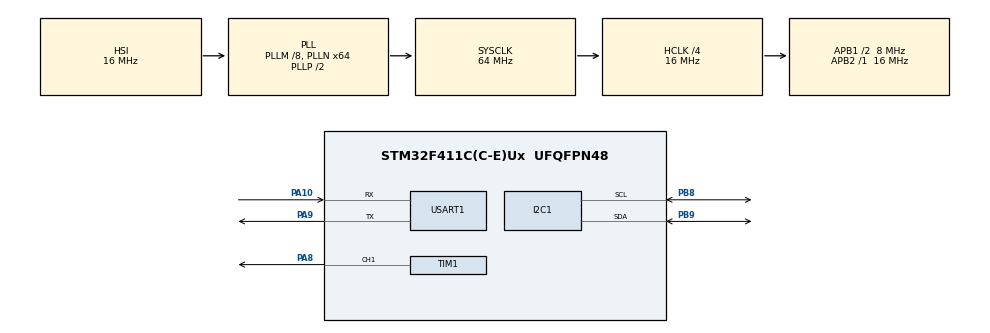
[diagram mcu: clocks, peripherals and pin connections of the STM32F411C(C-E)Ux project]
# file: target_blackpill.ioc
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Mcu.Family=STM32F4
Mcu.Name=STM32F411C(C-E)Ux
Mcu.Package=UFQFPN48
NVIC.PriorityGroup=NVIC_PRIORITYGROUP_4
NVIC.USART1_IRQn=true\:0\:0\:false\:false\:true\:true\:true\:true
PA10.Mode=Asynchronous
PA10.Signal=USART1_RX
PA13.Mode=Serial_Wire
PA13.Signal=SYS_JTMS-SWDIO
PA14.Mode=Serial_Wire
PA14.Signal=SYS_JTCK-SWCLK
PA8.Signal=S_TIM1_CH1
PA9.Mode=Asynchronous
PA9.Signal=USART1_TX
PB8.Mode=I2C
PB8.Signal=I2C1_SCL
PB9.Mode=I2C
PB9.Signal=I2C1_SDA
ProjectManager.HeapSize=0x200
ProjectManager.StackSize=0x400
ProjectManager.TargetToolchain=STM32CubeIDE
RCC.48MHZClocksFreq_Value=32000000
RCC.AHBCLKDivider=RCC_SYSCLK_DIV4
RCC.AHBFreq_Value=16000000
RCC.APB1CLKDivider=RCC_HCLK_DIV2
RCC.APB1Freq_Value=8000000
RCC.APB1TimFreq_Value=16000000
RCC.APB2Freq_Value=16000000
RCC.APB2TimFreq_Value=16000000
RCC.CortexFreq_Value=16000000
RCC.HCLKFreq_Value=16000000
RCC.HSE_VALUE=8000000
RCC.HSI_VALUE=16000000
RCC.LSE_VALUE=32768
RCC.PLLM=8
RCC.PLLN=64
RCC.SYSCLKFreq_VALUE=64000000
RCC.SYSCLKSource=RCC_SYSCLKSOURCE_PLLCLK
RCC.VCOOutputFreq_Value=128000000
SH.S_TIM1_CH1.0=TIM1_CH1,PWM Generation1 CH1
TIM1.Channel-PWM\ Generation1\ CH1=TIM_CHANNEL_1
TIM1.Period=499
TIM1.Prescaler=63
USART1.VirtualMode=VM_ASYNC
board=custom

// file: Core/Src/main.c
/* USER CODE BEGIN Header */
/**
  ******************************************************************************
  * @file           : main.c
  * @brief          : Main program body
  ******************************************************************************
  * @attention
  *
  * Copyright (c) 2026 STMicroelectronics.
  * All rights reserved.
  *
  * This software is licensed under terms that can be found in the LICENSE file
  * in the root directory of this software component.
  * If no LICENSE file comes with this software, it is provided AS-IS.
  *
  ******************************************************************************
  */
/* USER CODE END Header */
#include "main.h"

/* USER CODE BEGIN Includes */
#include <stdbool.h>
#include <ctype.h>
#include <stdio.h>
#include <stdlib.h>
#include <string.h>
#include "secure_link_config.h"

/* USER CODE END Includes */

/* USER CODE BEGIN PTD */
typedef struct
{
  char temperature_c[12];
  char humidity_pct[12];
  char flow_lpm[12];
  char plaintext[128];
  char encrypted_hex[385];
  bool flow_risk;
  bool fan_active;
  bool frost_risk;
  bool valid;
  uint32_t updated_at_ms;
} SensorData_t;

#ifdef HAL_UART_MODULE_ENABLED
typedef struct
{
  const char *command;
  uint16_t wait_ms;
  const char *line1;
  const char *line2;
} EspCommand_t;

typedef struct
{
  uint8_t at_index;
  uint32_t last_action_ms;
  bool init_started;
  bool server_ready;
  bool awaiting_response;
  bool uart_started;
  uint8_t rx_byte;
  volatile uint16_t rx_head;
  volatile uint16_t rx_tail;
  uint8_t rx_fifo[512];
  char text_buffer[768];
  uint16_t text_len;
  char last_hex[385];
  uint32_t last_hex_ms;
  uint32_t last_rx_activity_ms;
  uint32_t last_packet_ms;
  char status_line1[17];
  char status_line2[17];
  uint8_t active_session_id[8];
  uint8_t previous_session_ids[4][8];
  uint32_t highest_frame_counter;
  uint8_t previous_session_count;
  bool session_tracking_valid;
} EspReceiver_t;

typedef enum
{
  ESP_PACKET_INVALID = 0,
  ESP_PACKET_INCOMPLETE,
  ESP_PACKET_READY
} EspPacketProbeResult_t;

typedef struct
{
  bool initialized;
  uint8_t aes_key[16];
  uint8_t aes_round_keys[176];
  uint8_t hmac_key[32];
} EspCryptoContext_t;
#endif

/* USER CODE END PTD */

/* USER CODE BEGIN PD */
#define USER_LED_GPIO_Port GPIOC
#define USER_LED_Pin GPIO_PIN_13
#define BUZZER_GPIO_Port            GPIOA
#define BUZZER_Pin                  GPIO_PIN_8
#define LCD_BACKLIGHT              0x08U
#define LCD_ENABLE_BIT             0x04U
#define LCD_RS_BIT                 0x01U
#define LCD_LINE_1_ADDR            0x00U
#define LCD_LINE_2_ADDR            0x40U
#define ESP_MASTER_SECRET          SECURE_LINK_PAIR_SECRET
#define ESP_AP_SSID                SECURE_LINK_WIFI_SSID
#define ESP_AP_PASSWORD            SECURE_LINK_WIFI_PASSWORD
#define ESP_WIFI_MODE              "3"
#define ESP_AP_CHANNEL             "1"
#define ESP_AP_ENCRYPTION          "3"
#define ESP_TCP_SERVER_PORT        "80"
#define ESP_AT_RESPONSE_DELAY_MS   500U
#define ESP_BOOT_WAIT_MS           2500U
#define ESP_DUPLICATE_WINDOW_MS    800U
#define ESP_UART_NOISE_KEEP_LEN    192U
#define ESP_PACKET_TIMEOUT_MS      8000U
#define LCD_REFRESH_INTERVAL_MS    250U
#define ALERT_SHOW_MS              3000U
#define ESP_SECURE_PACKET_PREFIX   "ST1:"
#define ESP_SECURE_PACKET_PREFIX_V2 "ST2:"
#define ESP_SECURE_SESSION_ID_LEN  8U
#define ESP_SECURE_FRAME_COUNTER_LEN 4U
#define ESP_SECURE_IV_LEN          16U
#define ESP_SECURE_TAG_LEN         16U
#define ESP_SECURE_MAX_PLAINTEXT   127U
#define ESP_SECURE_PACKET_MAX_LEN  385U

/* USER CODE END PD */

I2C_HandleTypeDef hi2c1;

TIM_HandleTypeDef htim1;

UART_HandleTypeDef huart1;

/* USER CODE BEGIN PV */
#ifdef HAL_I2C_MODULE_ENABLED
extern I2C_HandleTypeDef hi2c1;

static uint16_t lcd_address = 0U;
static bool lcd_ready = false;
#endif

static SensorData_t sensor_data = {0};
static char alert_line1[17] = "";
static char alert_line2[17] = "";
static uint32_t alert_until_ms = 0U;

#ifdef HAL_UART_MODULE_ENABLED
extern UART_HandleTypeDef huart1;

static EspReceiver_t esp_receiver = {0};
static EspCryptoContext_t esp_crypto = {0};
#endif

/* USER CODE END PV */

void SystemClock_Config(void);
static void MX_GPIO_Init(void);
static void MX_I2C1_Init(void);
static void MX_USART1_UART_Init(void);
static void MX_TIM1_Init(void);
/* USER CODE BEGIN PFP */
#ifdef HAL_I2C_MODULE_ENABLED
static void LCD_Init(void);
static void LCD_ShowMessage(const char *line1, const char *line2);
static void LCD_Service(void);
#endif

static void Buzzer_Service(void);
static void Buzzer_StartAlert(void);
static void Buzzer_StopAlert(void);

#ifdef HAL_UART_MODULE_ENABLED
static void ESP_ServiceStartup(void);
static void ESP_PollUart(void);
static void ESP_StartUartReceive(void);
static void ESP_ProcessTextBuffer(void);
static void ESP_ProcessStartupResponses(void);
static void ESP_ServiceLinkHealth(void);
static void ESP_ForceReinit(const char *line1, const char *line2);
#endif

/* USER CODE END PFP */

/* USER CODE BEGIN 0 */
#ifdef HAL_I2C_MODULE_ENABLED
static void LCD_ExpanderWrite(uint8_t data)
{
  HAL_I2C_Master_Transmit(&hi2c1, lcd_address, &data, 1U, 100U);
}

static void LCD_PulseEnable(uint8_t data)
{
  LCD_ExpanderWrite(data | LCD_ENABLE_BIT);
  HAL_Delay(1);
  LCD_ExpanderWrite(data & (uint8_t)~LCD_ENABLE_BIT);
  HAL_Delay(1);
}

static void LCD_Write4Bits(uint8_t data)
{
  LCD_ExpanderWrite(data | LCD_BACKLIGHT);
  LCD_PulseEnable(data | LCD_BACKLIGHT);
}

static void LCD_Send(uint8_t value, uint8_t mode)
{
  uint8_t high_nibble = value & 0xF0U;
  uint8_t low_nibble = (uint8_t)((value << 4U) & 0xF0U);

  LCD_Write4Bits(high_nibble | mode);
  LCD_Write4Bits(low_nibble | mode);
}

static void LCD_SendCommand(uint8_t command)
{
  LCD_Send(command, 0U);

  if ((command == 0x01U) || (command == 0x02U))
  {
    HAL_Delay(2);
  }
  else
  {
    HAL_Delay(1);
  }
}

static void LCD_SendData(uint8_t data)
{
  LCD_Send(data, LCD_RS_BIT);
  HAL_Delay(1);
}

static void LCD_SetCursor(uint8_t row, uint8_t col)
{
  uint8_t base_addr = (row == 0U) ? LCD_LINE_1_ADDR : LCD_LINE_2_ADDR;
  LCD_SendCommand((uint8_t)(0x80U | (base_addr + col)));
}

static void LCD_PrintLine(uint8_t row, const char *text)
{
  char buffer[17];
  size_t text_len = strlen(text);

  memset(buffer, ' ', 16U);
  buffer[16] = '\0';

  if (text_len > 16U)
  {
    text_len = 16U;
  }

  memcpy(buffer, text, text_len);

  LCD_SetCursor(row, 0U);
  for (uint8_t i = 0U; i < 16U; i++)
  {
    LCD_SendData((uint8_t)buffer[i]);
  }
}

static void LCD_ShowMessage(const char *line1, const char *line2)
{
  if (!lcd_ready)
  {
    return;
  }

  LCD_PrintLine(0U, line1);
  LCD_PrintLine(1U, line2);
}

static uint16_t LCD_FindAddress(void)
{
  for (uint16_t address = 0x08U; address <= 0x77U; address++)
  {
    if (HAL_I2C_IsDeviceReady(&hi2c1, (uint16_t)(address << 1U), 2U, 100U) == HAL_OK)
    {
      return (uint16_t)(address << 1U);
    }
  }

  return 0U;
}

static void LCD_Init(void)
{
  lcd_address = LCD_FindAddress();
  if (lcd_address == 0U)
  {
    lcd_ready = false;
    return;
  }

  lcd_ready = true;

  HAL_Delay(50);
  LCD_Write4Bits(0x30U);
  HAL_Delay(5);
  LCD_Write4Bits(0x30U);
  HAL_Delay(5);
  LCD_Write4Bits(0x30U);
  HAL_Delay(1);
  LCD_Write4Bits(0x20U);

  LCD_SendCommand(0x28U);
  LCD_SendCommand(0x0CU);
  LCD_SendCommand(0x06U);
  LCD_SendCommand(0x01U);
  LCD_ShowMessage("LCD Baglandi", "ESP Bekleniyor");
}

static void LCD_Service(void)
{
  static uint32_t last_update_ms = 0U;
  char line1[17];
  char line2[17];

  if (!lcd_ready)
  {
    return;
  }

  if ((HAL_GetTick() - last_update_ms) < LCD_REFRESH_INTERVAL_MS)
  {
    return;
  }

  last_update_ms = HAL_GetTick();

  if (!sensor_data.valid)
  {
    #ifdef HAL_UART_MODULE_ENABLED
    LCD_ShowMessage(esp_receiver.status_line1, esp_receiver.status_line2);
    #else
    LCD_ShowMessage("Veri Yok", "UART Kapali");
    #endif
    return;
  }

  if (HAL_GetTick() < alert_until_ms)
  {
    LCD_ShowMessage(alert_line1, alert_line2);
    return;
  }

  snprintf(line1, sizeof(line1), "S:%.5s N:%.5s", sensor_data.temperature_c, sensor_data.humidity_pct);
  snprintf(line2, sizeof(line2), "D:%.8s L/dk", sensor_data.flow_lpm);
  LCD_ShowMessage(line1, line2);
}
#endif

static void Buzzer_Service(void)
{
  if (sensor_data.valid && sensor_data.fan_active)
  {
    Buzzer_StartAlert();
  }
  else
  {
    Buzzer_StopAlert();
  }
}

static void Buzzer_StartAlert(void)
{
#ifdef HAL_TIM_MODULE_ENABLED
  __HAL_TIM_SET_COMPARE(&htim1, TIM_CHANNEL_1, (__HAL_TIM_GET_AUTORELOAD(&htim1) + 1U) / 2U);
  HAL_TIM_PWM_Start(&htim1, TIM_CHANNEL_1);
#else
  HAL_GPIO_WritePin(BUZZER_GPIO_Port, BUZZER_Pin, GPIO_PIN_SET);
#endif
}

static void Buzzer_StopAlert(void)
{
#ifdef HAL_TIM_MODULE_ENABLED
  HAL_TIM_PWM_Stop(&htim1, TIM_CHANNEL_1);
  __HAL_TIM_SET_COMPARE(&htim1, TIM_CHANNEL_1, 0U);
#else
  HAL_GPIO_WritePin(BUZZER_GPIO_Port, BUZZER_Pin, GPIO_PIN_RESET);
#endif
}

#ifdef HAL_UART_MODULE_ENABLED
static const EspCommand_t esp_init_commands[] =
{
  {"AT", ESP_BOOT_WAIT_MS, "ESP Uyaniyor", "AT Gonderildi"},
  {"ATE0", ESP_AT_RESPONSE_DELAY_MS, "Echo Kapat", "ATE0"},
  {"AT+CWMODE=" ESP_WIFI_MODE, ESP_AT_RESPONSE_DELAY_MS, "WiFi Mod", "CWMODE=3"},
  {"AT+CWSAP=\"" ESP_AP_SSID "\",\"" ESP_AP_PASSWORD "\"," ESP_AP_CHANNEL "," ESP_AP_ENCRYPTION, 1600U, "AP Kuruluyor", ESP_AP_SSID},
  {"AT+CIPMUX=1", ESP_AT_RESPONSE_DELAY_MS, "ESP Sunucu", "CIPMUX=1"},
  {"AT+CIPSERVER=1," ESP_TCP_SERVER_PORT, 1000U, "ESP Sunucu", "CIPSERVER=1"}
};

static void ESP_SetStatus(const char *line1, const char *line2)
{
  snprintf(esp_receiver.status_line1, sizeof(esp_receiver.status_line1), "%s", line1);
  snprintf(esp_receiver.status_line2, sizeof(esp_receiver.status_line2), "%s", line2);
}

static void ESP_ForceReinit(const char *line1, const char *line2)
{
  bool uart_started = esp_receiver.uart_started;
  uint8_t rx_byte = esp_receiver.rx_byte;

  memset(esp_receiver.last_hex, 0, sizeof(esp_receiver.last_hex));
  memset(esp_receiver.rx_fifo, 0, sizeof(esp_receiver.rx_fifo));
  memset(esp_receiver.text_buffer, 0, sizeof(esp_receiver.text_buffer));
  memset(esp_receiver.active_session_id, 0, sizeof(esp_receiver.active_session_id));
  memset(esp_receiver.previous_session_ids, 0, sizeof(esp_receiver.previous_session_ids));
  esp_receiver.at_index = 0U;
  esp_receiver.last_action_ms = HAL_GetTick();
  esp_receiver.init_started = false;
  esp_receiver.server_ready = false;
  esp_receiver.awaiting_response = false;
  esp_receiver.uart_started = uart_started;
  esp_receiver.rx_byte = rx_byte;
  esp_receiver.rx_head = 0U;
  esp_receiver.rx_tail = 0U;
  esp_receiver.text_len = 0U;
  esp_receiver.last_hex_ms = 0U;
  esp_receiver.last_rx_activity_ms = 0U;
  esp_receiver.last_packet_ms = 0U;
  esp_receiver.highest_frame_counter = 0U;
  esp_receiver.previous_session_count = 0U;
  esp_receiver.session_tracking_valid = false;

  sensor_data.valid = false;
  ESP_SetStatus(line1, line2);
}

static void ESP_SendCommand(const char *command)
{
  static const char line_end[] = "\r\n";

  HAL_UART_Transmit(&huart1, (uint8_t *)command, (uint16_t)strlen(command), 1000U);
  HAL_UART_Transmit(&huart1, (uint8_t *)line_end, 2U, 100U);
}

static void ESP_ConsumeTextPrefix(uint16_t length)
{
  if (length == 0U)
  {
    return;
  }

  if (length >= esp_receiver.text_len)
  {
    esp_receiver.text_len = 0U;
    esp_receiver.text_buffer[0] = '\0';
    return;
  }

  memmove(esp_receiver.text_buffer,
          &esp_receiver.text_buffer[length],
          esp_receiver.text_len - length);
  esp_receiver.text_len = (uint16_t)(esp_receiver.text_len - length);
  esp_receiver.text_buffer[esp_receiver.text_len] = '\0';
}

static bool ESP_ConsumeThroughToken(const char *token)
{
  char *match;
  uint16_t consume_length;

  if ((token == NULL) || (token[0] == '\0') || (esp_receiver.text_len == 0U))
  {
    return false;
  }

  match = strstr(esp_receiver.text_buffer, token);
  if (match == NULL)
  {
    return false;
  }

  consume_length = (uint16_t)((match - esp_receiver.text_buffer) + strlen(token));
  while ((consume_length < esp_receiver.text_len) &&
         ((esp_receiver.text_buffer[consume_length] == '\r') ||
          (esp_receiver.text_buffer[consume_length] == '\n')))
  {
    consume_length++;
  }

  ESP_ConsumeTextPrefix(consume_length);
  return true;
}

static uint8_t ESP_HexNibble(char value)
{
  if ((value >= '0') && (value <= '9'))
  {
    return (uint8_t)(value - '0');
  }

  value = (char)toupper((unsigned char)value);
  return (uint8_t)(10 + (value - 'A'));
}

static bool ESP_IsHexString(const char *text, size_t length)
{
  for (size_t i = 0U; i < length; i++)
  {
    if (isxdigit((unsigned char)text[i]) == 0)
    {
      return false;
    }
  }

  return true;
}

static bool ESP_ParseHexWord(const char *hex_text, uint16_t *value)
{
  uint16_t parsed = 0U;

  if ((hex_text == NULL) || (value == NULL) || !ESP_IsHexString(hex_text, 4U))
  {
    return false;
  }

  for (size_t i = 0U; i < 4U; i++)
  {
    parsed = (uint16_t)((parsed << 4U) | ESP_HexNibble(hex_text[i]));
  }

  *value = parsed;
  return true;
}

static bool ESP_ParseHexDword(const char *hex_text, uint32_t *value)
{
  uint32_t parsed = 0U;

  if ((hex_text == NULL) || (value == NULL) || !ESP_IsHexString(hex_text, 8U))
  {
    return false;
  }

  for (size_t i = 0U; i < 8U; i++)
  {
    parsed = (parsed << 4U) | ESP_HexNibble(hex_text[i]);
  }

  *value = parsed;
  return true;
}

static bool ESP_HexToBytes(const char *hex_text, size_t hex_length, uint8_t *bytes, size_t bytes_size)
{
  if ((hex_text == NULL) || (bytes == NULL) || ((hex_length % 2U) != 0U) ||
      ((hex_length / 2U) > bytes_size) || !ESP_IsHexString(hex_text, hex_length))
  {
    return false;
  }

  for (size_t i = 0U; i < (hex_length / 2U); i++)
  {
    bytes[i] = (uint8_t)((ESP_HexNibble(hex_text[i * 2U]) << 4U) |
                         ESP_HexNibble(hex_text[(i * 2U) + 1U]));
  }

  return true;
}

static bool ESP_CopyField(const char *payload, const char *label, char terminator, char *out, size_t out_size)
{
  const char *start = strstr(payload, label);
  size_t index = 0U;

  if ((start == NULL) || (out_size == 0U))
  {
    return false;
  }

  start += strlen(label);
  while (*start == ' ')
  {
    start++;
  }

  while ((*start != '\0') && (*start != terminator) && (index + 1U < out_size))
  {
    out[index++] = *start++;
  }

  while ((index > 0U) && (out[index - 1U] == ' '))
  {
    index--;
  }

  out[index] = '\0';
  return index > 0U;
}

static void ESP_ParseOptionalFlagField(const char *payload, const char *label, bool *value)
{
  const char *start;

  if ((payload == NULL) || (label == NULL) || (value == NULL))
  {
    return;
  }

  start = strstr(payload, label);
  if (start == NULL)
  {
    return;
  }

  start += strlen(label);
  while ((*start == ' ') || (*start == '\t'))
  {
    start++;
  }

  if (*start == '1')
  {
    *value = true;
  }
  else if (*start == '0')
  {
    *value = false;
  }
  else if ((toupper((unsigned char)start[0]) == 'O') &&
           (toupper((unsigned char)start[1]) == 'N'))
  {
    *value = true;
  }
  else if ((toupper((unsigned char)start[0]) == 'O') &&
           (toupper((unsigned char)start[1]) == 'F') &&
           (toupper((unsigned char)start[2]) == 'F'))
  {
    *value = false;
  }
}

static bool ESP_ParseSensorPayload(const char *payload, SensorData_t *parsed)
{
  if (!ESP_CopyField(payload, "Sicaklik:", 'C', parsed->temperature_c, sizeof(parsed->temperature_c)))
  {
    return false;
  }

  if (!ESP_CopyField(payload, "Nem:", '%', parsed->humidity_pct, sizeof(parsed->humidity_pct)))
  {
    return false;
  }

  if (!ESP_CopyField(payload, "Debi:", 'L', parsed->flow_lpm, sizeof(parsed->flow_lpm)))
  {
    return false;
  }

  parsed->fan_active = false;
  parsed->frost_risk = false;
  parsed->flow_risk = false;
  ESP_ParseOptionalFlagField(payload, "Fan:", &parsed->fan_active);
  ESP_ParseOptionalFlagField(payload, "Don:", &parsed->frost_risk);
  ESP_ParseOptionalFlagField(payload, "Boru:", &parsed->flow_risk);
  snprintf(parsed->plaintext, sizeof(parsed->plaintext), "%s", payload);
  parsed->updated_at_ms = HAL_GetTick();
  parsed->valid = true;
  return true;
}

static void ESP_SHA256_Transform(uint32_t state[8], const uint8_t block[64])
{
  static const uint32_t k[64] =
  {
    0x428a2f98UL, 0x71374491UL, 0xb5c0fbcfUL, 0xe9b5dba5UL,
    0x3956c25bUL, 0x59f111f1UL, 0x923f82a4UL, 0xab1c5ed5UL,
    0xd807aa98UL, 0x12835b01UL, 0x243185beUL, 0x550c7dc3UL,
    0x72be5d74UL, 0x80deb1feUL, 0x9bdc06a7UL, 0xc19bf174UL,
    0xe49b69c1UL, 0xefbe4786UL, 0x0fc19dc6UL, 0x240ca1ccUL,
    0x2de92c6fUL, 0x4a7484aaUL, 0x5cb0a9dcUL, 0x76f988daUL,
    0x983e5152UL, 0xa831c66dUL, 0xb00327c8UL, 0xbf597fc7UL,
    0xc6e00bf3UL, 0xd5a79147UL, 0x06ca6351UL, 0x14292967UL,
    0x27b70a85UL, 0x2e1b2138UL, 0x4d2c6dfcUL, 0x53380d13UL,
    0x650a7354UL, 0x766a0abbUL, 0x81c2c92eUL, 0x92722c85UL,
    0xa2bfe8a1UL, 0xa81a664bUL, 0xc24b8b70UL, 0xc76c51a3UL,
    0xd192e819UL, 0xd6990624UL, 0xf40e3585UL, 0x106aa070UL,
    0x19a4c116UL, 0x1e376c08UL, 0x2748774cUL, 0x34b0bcb5UL,
    0x391c0cb3UL, 0x4ed8aa4aUL, 0x5b9cca4fUL, 0x682e6ff3UL,
    0x748f82eeUL, 0x78a5636fUL, 0x84c87814UL, 0x8cc70208UL,
    0x90befffaUL, 0xa4506cebUL, 0xbef9a3f7UL, 0xc67178f2UL
  };
  uint32_t w[64];
  uint32_t a;
  uint32_t b;
  uint32_t c;
  uint32_t d;
  uint32_t e;
  uint32_t f;
  uint32_t g;
  uint32_t h;

  for (size_t i = 0U; i < 16U; i++)
  {
    w[i] = ((uint32_t)block[i * 4U] << 24U) |
           ((uint32_t)block[(i * 4U) + 1U] << 16U) |
           ((uint32_t)block[(i * 4U) + 2U] << 8U) |
           (uint32_t)block[(i * 4U) + 3U];
  }

  for (size_t i = 16U; i < 64U; i++)
  {
    uint32_t s0 = ((w[i - 15U] >> 7U) | (w[i - 15U] << 25U)) ^
                  ((w[i - 15U] >> 18U) | (w[i - 15U] << 14U)) ^
                  (w[i - 15U] >> 3U);
    uint32_t s1 = ((w[i - 2U] >> 17U) | (w[i - 2U] << 15U)) ^
                  ((w[i - 2U] >> 19U) | (w[i - 2U] << 13U)) ^
                  (w[i - 2U] >> 10U);

    w[i] = w[i - 16U] + s0 + w[i - 7U] + s1;
  }

  a = state[0];
  b = state[1];
  c = state[2];
  d = state[3];
  e = state[4];
  f = state[5];
  g = state[6];
  h = state[7];

  for (size_t i = 0U; i < 64U; i++)
  {
    uint32_t s1 = ((e >> 6U) | (e << 26U)) ^
                  ((e >> 11U) | (e << 21U)) ^
                  ((e >> 25U) | (e << 7U));
    uint32_t ch = (e & f) ^ ((~e) & g);
    uint32_t temp1 = h + s1 + ch + k[i] + w[i];
    uint32_t s0 = ((a >> 2U) | (a << 30U)) ^
                  ((a >> 13U) | (a << 19U)) ^
                  ((a >> 22U) | (a << 10U));
    uint32_t maj = (a & b) ^ (a & c) ^ (b & c);
    uint32_t temp2 = s0 + maj;

    h = g;
    g = f;
    f = e;
    e = d + temp1;
    d = c;
    c = b;
    b = a;
    a = temp1 + temp2;
  }

  state[0] += a;
  state[1] += b;
  state[2] += c;
  state[3] += d;
  state[4] += e;
  state[5] += f;
  state[6] += g;
  state[7] += h;
}

typedef struct
{
  uint32_t state[8];
  uint8_t buffer[64];
  uint64_t bit_length;
  size_t buffer_length;
} EspSha256Context_t;

static void ESP_SHA256_Init(EspSha256Context_t *ctx)
{
  ctx->state[0] = 0x6a09e667UL;
  ctx->state[1] = 0xbb67ae85UL;
  ctx->state[2] = 0x3c6ef372UL;
  ctx->state[3] = 0xa54ff53aUL;
  ctx->state[4] = 0x510e527fUL;
  ctx->state[5] = 0x9b05688cUL;
  ctx->state[6] = 0x1f83d9abUL;
  ctx->state[7] = 0x5be0cd19UL;
  ctx->bit_length = 0U;
  ctx->buffer_length = 0U;
}

static void ESP_SHA256_Update(EspSha256Context_t *ctx, const uint8_t *data, size_t length)
{
  for (size_t i = 0U; i < length; i++)
  {
    ctx->buffer[ctx->buffer_length++] = data[i];

    if (ctx->buffer_length == sizeof(ctx->buffer))
    {
      ESP_SHA256_Transform(ctx->state, ctx->buffer);
      ctx->bit_length += 512U;
      ctx->buffer_length = 0U;
    }
  }
}

static void ESP_SHA256_Final(EspSha256Context_t *ctx, uint8_t hash[32])
{
  size_t index = ctx->buffer_length;

  ctx->bit_length += (uint64_t)index * 8ULL;
  ctx->buffer[index++] = 0x80U;

  if (index > 56U)
  {
    while (index < 64U)
    {
      ctx->buffer[index++] = 0x00U;
    }

    ESP_SHA256_Transform(ctx->state, ctx->buffer);
    index = 0U;
  }

  while (index < 56U)
  {
    ctx->buffer[index++] = 0x00U;
  }

  for (size_t i = 0U; i < 8U; i++)
  {
    ctx->buffer[56U + i] = (uint8_t)(ctx->bit_length >> ((7U - i) * 8U));
  }

  ESP_SHA256_Transform(ctx->state, ctx->buffer);

  for (size_t i = 0U; i < 8U; i++)
  {
    hash[i * 4U] = (uint8_t)(ctx->state[i] >> 24U);
    hash[(i * 4U) + 1U] = (uint8_t)(ctx->state[i] >> 16U);
    hash[(i * 4U) + 2U] = (uint8_t)(ctx->state[i] >> 8U);
    hash[(i * 4U) + 3U] = (uint8_t)ctx->state[i];
  }
}

static void ESP_SHA256_Data(const uint8_t *data, size_t length, uint8_t hash[32])
{
  EspSha256Context_t ctx;

  ESP_SHA256_Init(&ctx);
  ESP_SHA256_Update(&ctx, data, length);
  ESP_SHA256_Final(&ctx, hash);
}

static void ESP_SHA256_DataPair(const uint8_t *data1, size_t length1,
                                const uint8_t *data2, size_t length2,
                                uint8_t hash[32])
{
  EspSha256Context_t ctx;

  ESP_SHA256_Init(&ctx);
  ESP_SHA256_Update(&ctx, data1, length1);
  ESP_SHA256_Update(&ctx, data2, length2);
  ESP_SHA256_Final(&ctx, hash);
}

static void ESP_SHA256_DataTriple(const uint8_t *data1, size_t length1,
                                  const uint8_t *data2, size_t length2,
                                  const uint8_t *data3, size_t length3,
                                  uint8_t hash[32])
{
  EspSha256Context_t ctx;

  ESP_SHA256_Init(&ctx);
  ESP_SHA256_Update(&ctx, data1, length1);
  ESP_SHA256_Update(&ctx, data2, length2);
  ESP_SHA256_Update(&ctx, data3, length3);
  ESP_SHA256_Final(&ctx, hash);
}

static uint8_t ESP_AES_Multiply(uint8_t value, uint8_t factor)
{
  uint8_t result = 0U;
  uint8_t current = value;

  while (factor != 0U)
  {
    if ((factor & 1U) != 0U)
    {
      result ^= current;
    }

    if ((current & 0x80U) != 0U)
    {
      current = (uint8_t)((current << 1U) ^ 0x1BU);
    }
    else
    {
      current <<= 1U;
    }

    factor >>= 1U;
  }

  return result;
}

static uint8_t ESP_AES_Power(uint8_t value, uint8_t exponent)
{
  uint8_t result = 1U;

  while (exponent != 0U)
  {
    if ((exponent & 1U) != 0U)
    {
      result = ESP_AES_Multiply(result, value);
    }

    value = ESP_AES_Multiply(value, value);
    exponent >>= 1U;
  }

  return result;
}

static uint8_t ESP_AES_SubByte(uint8_t value)
{
  uint8_t inverse = (value == 0U) ? 0U : ESP_AES_Power(value, 254U);
  uint8_t result = (uint8_t)(inverse ^
                             ((inverse << 1U) | (inverse >> 7U)) ^
                             ((inverse << 2U) | (inverse >> 6U)) ^
                             ((inverse << 3U) | (inverse >> 5U)) ^
                             ((inverse << 4U) | (inverse >> 4U)) ^
                             0x63U);

  return result;
}

static void ESP_AES_KeyExpansion(const uint8_t key[16], uint8_t round_keys[176])
{
  static const uint8_t rcon[10] = {0x01U, 0x02U, 0x04U, 0x08U, 0x10U, 0x20U, 0x40U, 0x80U, 0x1BU, 0x36U};
  uint8_t temp[4];
  size_t generated = 16U;
  size_t rcon_index = 0U;

  memcpy(round_keys, key, 16U);

  while (generated < 176U)
  {
    memcpy(temp, &round_keys[generated - 4U], sizeof(temp));

    if ((generated % 16U) == 0U)
    {
      uint8_t swap = temp[0];

      temp[0] = temp[1];
      temp[1] = temp[2];
      temp[2] = temp[3];
      temp[3] = swap;

      temp[0] = ESP_AES_SubByte(temp[0]);
      temp[1] = ESP_AES_SubByte(temp[1]);
      temp[2] = ESP_AES_SubByte(temp[2]);
      temp[3] = ESP_AES_SubByte(temp[3]);
      temp[0] ^= rcon[rcon_index++];
    }

    for (size_t i = 0U; i < 4U; i++)
    {
      round_keys[generated] = (uint8_t)(round_keys[generated - 16U] ^ temp[i]);
      generated++;
    }
  }
}

static void ESP_AES_AddRoundKey(uint8_t state[16], const uint8_t *round_key)
{
  for (size_t i = 0U; i < 16U; i++)
  {
    state[i] ^= round_key[i];
  }
}

static void ESP_AES_SubBytes(uint8_t state[16])
{
  for (size_t i = 0U; i < 16U; i++)
  {
    state[i] = ESP_AES_SubByte(state[i]);
  }
}

static void ESP_AES_ShiftRows(uint8_t state[16])
{
  uint8_t temp[16];

  memcpy(temp, state, sizeof(temp));
  state[0] = temp[0];
  state[1] = temp[5];
  state[2] = temp[10];
  state[3] = temp[15];
  state[4] = temp[4];
  state[5] = temp[9];
  state[6] = temp[14];
  state[7] = temp[3];
  state[8] = temp[8];
  state[9] = temp[13];
  state[10] = temp[2];
  state[11] = temp[7];
  state[12] = temp[12];
  state[13] = temp[1];
  state[14] = temp[6];
  state[15] = temp[11];
}

static void ESP_AES_MixColumns(uint8_t state[16])
{
  for (size_t column = 0U; column < 4U; column++)
  {
    size_t index = column * 4U;
    uint8_t s0 = state[index];
    uint8_t s1 = state[index + 1U];
    uint8_t s2 = state[index + 2U];
    uint8_t s3 = state[index + 3U];

    state[index] = (uint8_t)(ESP_AES_Multiply(s0, 2U) ^ ESP_AES_Multiply(s1, 3U) ^ s2 ^ s3);
    state[index + 1U] = (uint8_t)(s0 ^ ESP_AES_Multiply(s1, 2U) ^ ESP_AES_Multiply(s2, 3U) ^ s3);
    state[index + 2U] = (uint8_t)(s0 ^ s1 ^ ESP_AES_Multiply(s2, 2U) ^ ESP_AES_Multiply(s3, 3U));
    state[index + 3U] = (uint8_t)(ESP_AES_Multiply(s0, 3U) ^ s1 ^ s2 ^ ESP_AES_Multiply(s3, 2U));
  }
}

static void ESP_AES_EncryptBlock(const uint8_t input[16], const uint8_t round_keys[176], uint8_t output[16])
{
  uint8_t state[16];

  memcpy(state, input, sizeof(state));
  ESP_AES_AddRoundKey(state, round_keys);

  for (size_t round = 1U; round < 10U; round++)
  {
    ESP_AES_SubBytes(state);
    ESP_AES_ShiftRows(state);
    ESP_AES_MixColumns(state);
    ESP_AES_AddRoundKey(state, &round_keys[round * 16U]);
  }

  ESP_AES_SubBytes(state);
  ESP_AES_ShiftRows(state);
  ESP_AES_AddRoundKey(state, &round_keys[160U]);
  memcpy(output, state, sizeof(state));
}

static void ESP_AES_CTR_Transform(uint8_t *data, size_t length, const uint8_t round_keys[176], const uint8_t iv[16])
{
  uint8_t counter[16];
  uint8_t stream_block[16];
  size_t offset = 0U;

  memcpy(counter, iv, sizeof(counter));

  while (offset < length)
  {
    ESP_AES_EncryptBlock(counter, round_keys, stream_block);

    for (size_t i = 0U; (i < 16U) && (offset < length); i++, offset++)
    {
      data[offset] ^= stream_block[i];
    }

    for (int32_t i = 15; i >= 0; i--)
    {
      counter[i]++;
      if (counter[i] != 0U)
      {
        break;
      }
    }
  }
}

static void ESP_HMAC_SHA256(const uint8_t *key, size_t key_length,
                            const uint8_t *data, size_t data_length,
                            uint8_t digest[32])
{
  uint8_t key_block[64];
  uint8_t inner_hash[32];
  uint8_t inner_pad[64];
  uint8_t outer_pad[64];

  memset(key_block, 0, sizeof(key_block));

  if (key_length > sizeof(key_block))
  {
    ESP_SHA256_Data(key, key_length, key_block);
  }
  else
  {
    memcpy(key_block, key, key_length);
  }

  for (size_t i = 0U; i < sizeof(key_block); i++)
  {
    inner_pad[i] = (uint8_t)(key_block[i] ^ 0x36U);
    outer_pad[i] = (uint8_t)(key_block[i] ^ 0x5CU);
  }

  ESP_SHA256_DataPair(inner_pad, sizeof(inner_pad), data, data_length, inner_hash);
  ESP_SHA256_DataPair(outer_pad, sizeof(outer_pad), inner_hash, sizeof(inner_hash), digest);
}

static bool ESP_SecureEquals(const uint8_t *lhs, const uint8_t *rhs, size_t length)
{
  uint8_t diff = 0U;

  for (size_t i = 0U; i < length; i++)
  {
    diff |= (uint8_t)(lhs[i] ^ rhs[i]);
  }

  return diff == 0U;
}

static void ESP_StoreBe32(uint32_t value, uint8_t output[4])
{
  output[0] = (uint8_t)(value >> 24U);
  output[1] = (uint8_t)(value >> 16U);
  output[2] = (uint8_t)(value >> 8U);
  output[3] = (uint8_t)value;
}

static void ESP_EnsureCryptoContext(void)
{
  static const uint8_t aes_label[] = "AES-128-CTR";
  static const uint8_t hmac_label[] = "HMAC-SHA256";
  static const uint8_t context_label[] = "SECURE-LINK-CONTEXT";
  static const uint8_t master_secret[] = ESP_MASTER_SECRET;
  uint8_t hash[32];
  uint8_t context_hash[32];

  if (esp_crypto.initialized)
  {
    return;
  }

  ESP_SHA256_DataTriple(
      context_label,
      sizeof(context_label) - 1U,
      (const uint8_t *)SECURE_LINK_SENDER_DEVICE_ID,
      strlen(SECURE_LINK_SENDER_DEVICE_ID),
      (const uint8_t *)SECURE_LINK_RECEIVER_DEVICE_ID,
      strlen(SECURE_LINK_RECEIVER_DEVICE_ID),
      context_hash);

  ESP_SHA256_DataTriple(aes_label, sizeof(aes_label) - 1U,
                        context_hash, sizeof(context_hash),
                        master_secret, sizeof(master_secret) - 1U,
                        hash);
  memcpy(esp_crypto.aes_key, hash, sizeof(esp_crypto.aes_key));
  ESP_AES_KeyExpansion(esp_crypto.aes_key, esp_crypto.aes_round_keys);

  ESP_SHA256_DataTriple(hmac_label, sizeof(hmac_label) - 1U,
                        context_hash, sizeof(context_hash),
                        master_secret, sizeof(master_secret) - 1U,
                        hash);
  memcpy(esp_crypto.hmac_key, hash, sizeof(esp_crypto.hmac_key));
  esp_crypto.initialized = true;
}

static bool ESP_IsKnownPreviousSession(const uint8_t session_id[ESP_SECURE_SESSION_ID_LEN])
{
  for (uint8_t i = 0U; i < esp_receiver.previous_session_count; i++)
  {
    if (memcmp(esp_receiver.previous_session_ids[i], session_id, ESP_SECURE_SESSION_ID_LEN) == 0)
    {
      return true;
    }
  }

  return false;
}

static void ESP_RememberPreviousSession(const uint8_t session_id[ESP_SECURE_SESSION_ID_LEN])
{
  uint8_t slot = 0U;

  if (ESP_IsKnownPreviousSession(session_id))
  {
    return;
  }

  if (esp_receiver.previous_session_count < 4U)
  {
    slot = esp_receiver.previous_session_count++;
  }
  else
  {
    memmove(
        esp_receiver.previous_session_ids,
        &esp_receiver.previous_session_ids[1],
        sizeof(esp_receiver.previous_session_ids[0]) * 3U);
    slot = 3U;
  }

  memcpy(esp_receiver.previous_session_ids[slot], session_id, ESP_SECURE_SESSION_ID_LEN);
}

static bool ESP_AcceptReplayWindow(
    const uint8_t session_id[ESP_SECURE_SESSION_ID_LEN],
    uint32_t frame_counter)
{
  if (!esp_receiver.session_tracking_valid)
  {
    memcpy(esp_receiver.active_session_id, session_id, ESP_SECURE_SESSION_ID_LEN);
    esp_receiver.highest_frame_counter = frame_counter;
    esp_receiver.session_tracking_valid = true;
    return true;
  }

  if (memcmp(esp_receiver.active_session_id, session_id, ESP_SECURE_SESSION_ID_LEN) == 0)
  {
    if (frame_counter <= esp_receiver.highest_frame_counter)
    {
      return false;
    }

    esp_receiver.highest_frame_counter = frame_counter;
    return true;
  }

  if (ESP_IsKnownPreviousSession(session_id))
  {
    return false;
  }

  ESP_RememberPreviousSession(esp_receiver.active_session_id);
  memcpy(esp_receiver.active_session_id, session_id, ESP_SECURE_SESSION_ID_LEN);
  esp_receiver.highest_frame_counter = frame_counter;
  esp_receiver.session_tracking_valid = true;
  return true;
}

static bool ESP_DecryptSecurePayloadV1(const char *packet, char *plaintext, size_t plaintext_size)
{
  uint16_t plaintext_length = 0U;
  size_t cipher_hex_length;
  uint8_t iv[ESP_SECURE_IV_LEN];
  uint8_t ciphertext[ESP_SECURE_MAX_PLAINTEXT];
  uint8_t auth_buffer[ESP_SECURE_IV_LEN + ESP_SECURE_MAX_PLAINTEXT];
  uint8_t expected_tag[32];
  uint8_t received_tag[ESP_SECURE_TAG_LEN];

  if ((packet == NULL) || (plaintext == NULL) || (plaintext_size == 0U) ||
      (memcmp(packet, ESP_SECURE_PACKET_PREFIX, 4U) != 0))
  {
    return false;
  }

  if (!ESP_ParseHexWord(&packet[4], &plaintext_length) ||
      (plaintext_length == 0U) ||
      (plaintext_length > ESP_SECURE_MAX_PLAINTEXT) ||
      ((plaintext_length + 1U) > plaintext_size) ||
      (packet[8] != ':') ||
      (packet[41] != ':'))
  {
    return false;
  }

  cipher_hex_length = (size_t)plaintext_length * 2U;

  if (packet[42U + cipher_hex_length] != ':')
  {
    return false;
  }

  if (!ESP_HexToBytes(&packet[9], 32U, iv, sizeof(iv)) ||
      !ESP_HexToBytes(&packet[42], cipher_hex_length, ciphertext, sizeof(ciphertext)) ||
      !ESP_HexToBytes(&packet[43U + cipher_hex_length], 32U, received_tag, sizeof(received_tag)))
  {
    return false;
  }

  memcpy(auth_buffer, iv, sizeof(iv));
  memcpy(&auth_buffer[sizeof(iv)], ciphertext, plaintext_length);

  ESP_EnsureCryptoContext();
  ESP_HMAC_SHA256(esp_crypto.hmac_key, sizeof(esp_crypto.hmac_key),
                  auth_buffer, sizeof(iv) + plaintext_length,
                  expected_tag);

  if (!ESP_SecureEquals(received_tag, expected_tag, ESP_SECURE_TAG_LEN))
  {
    return false;
  }

  ESP_AES_CTR_Transform(ciphertext, plaintext_length, esp_crypto.aes_round_keys, iv);
  memcpy(plaintext, ciphertext, plaintext_length);
  plaintext[plaintext_length] = '\0';
  return true;
}

static bool ESP_DecryptSecurePayloadV2(
    const char *packet,
    char *plaintext,
    size_t plaintext_size,
    uint8_t session_id[ESP_SECURE_SESSION_ID_LEN],
    uint32_t *frame_counter)
{
  uint16_t plaintext_length = 0U;
  size_t cipher_hex_length;
  uint8_t frame_counter_bytes[ESP_SECURE_FRAME_COUNTER_LEN];
  uint8_t iv[ESP_SECURE_IV_LEN];
  uint8_t ciphertext[ESP_SECURE_MAX_PLAINTEXT];
  uint8_t auth_buffer[
      ESP_SECURE_SESSION_ID_LEN +
      ESP_SECURE_FRAME_COUNTER_LEN +
      ESP_SECURE_IV_LEN +
      ESP_SECURE_MAX_PLAINTEXT];
  uint8_t expected_tag[32];
  uint8_t received_tag[ESP_SECURE_TAG_LEN];

  if ((packet == NULL) || (plaintext == NULL) || (plaintext_size == 0U) ||
      (session_id == NULL) || (frame_counter == NULL) ||
      (memcmp(packet, ESP_SECURE_PACKET_PREFIX_V2, 4U) != 0))
  {
    return false;
  }

  if (!ESP_ParseHexWord(&packet[4], &plaintext_length) ||
      (plaintext_length == 0U) ||
      (plaintext_length > ESP_SECURE_MAX_PLAINTEXT) ||
      ((plaintext_length + 1U) > plaintext_size) ||
      (packet[8] != ':') ||
      (packet[25] != ':') ||
      (packet[34] != ':') ||
      (packet[67] != ':'))
  {
    return false;
  }

  cipher_hex_length = (size_t)plaintext_length * 2U;
  if (packet[68U + cipher_hex_length] != ':')
  {
    return false;
  }

  if (!ESP_HexToBytes(&packet[9], 16U, session_id, ESP_SECURE_SESSION_ID_LEN) ||
      !ESP_ParseHexDword(&packet[26], frame_counter) ||
      !ESP_HexToBytes(&packet[35], 32U, iv, sizeof(iv)) ||
      !ESP_HexToBytes(&packet[68], cipher_hex_length, ciphertext, sizeof(ciphertext)) ||
      !ESP_HexToBytes(&packet[69U + cipher_hex_length], 32U, received_tag, sizeof(received_tag)))
  {
    return false;
  }

  ESP_StoreBe32(*frame_counter, frame_counter_bytes);
  memcpy(auth_buffer, session_id, ESP_SECURE_SESSION_ID_LEN);
  memcpy(&auth_buffer[ESP_SECURE_SESSION_ID_LEN], frame_counter_bytes, sizeof(frame_counter_bytes));
  memcpy(&auth_buffer[ESP_SECURE_SESSION_ID_LEN + sizeof(frame_counter_bytes)], iv, sizeof(iv));
  memcpy(&auth_buffer[ESP_SECURE_SESSION_ID_LEN + sizeof(frame_counter_bytes) + sizeof(iv)], ciphertext, plaintext_length);

  ESP_EnsureCryptoContext();
  ESP_HMAC_SHA256(
      esp_crypto.hmac_key,
      sizeof(esp_crypto.hmac_key),
      auth_buffer,
      ESP_SECURE_SESSION_ID_LEN + sizeof(frame_counter_bytes) + sizeof(iv) + plaintext_length,
      expected_tag);

  if (!ESP_SecureEquals(received_tag, expected_tag, ESP_SECURE_TAG_LEN))
  {
    return false;
  }

  ESP_AES_CTR_Transform(ciphertext, plaintext_length, esp_crypto.aes_round_keys, iv);
  memcpy(plaintext, ciphertext, plaintext_length);
  plaintext[plaintext_length] = '\0';
  return true;
}

static EspPacketProbeResult_t ESP_ProbeSecurePacket(const char *start, size_t available, size_t *packet_length)
{
  uint16_t plaintext_length = 0U;
  size_t full_length;
  size_t cipher_hex_length;

  if ((start == NULL) || (packet_length == NULL))
  {
    return ESP_PACKET_INVALID;
  }

  if (memcmp(start, ESP_SECURE_PACKET_PREFIX_V2, 4U) == 0)
  {
    if (available < 68U)
    {
      return ESP_PACKET_INCOMPLETE;
    }

    if (!ESP_ParseHexWord(&start[4], &plaintext_length) ||
        (plaintext_length == 0U) ||
        (plaintext_length > ESP_SECURE_MAX_PLAINTEXT) ||
        (start[8] != ':') ||
        (start[25] != ':') ||
        (start[34] != ':') ||
        (start[67] != ':'))
    {
      return ESP_PACKET_INVALID;
    }

    cipher_hex_length = (size_t)plaintext_length * 2U;
    full_length = 101U + cipher_hex_length;

    if (full_length >= ESP_SECURE_PACKET_MAX_LEN)
    {
      return ESP_PACKET_INVALID;
    }

    if (available < full_length)
    {
      return ESP_PACKET_INCOMPLETE;
    }

    if ((start[68U + cipher_hex_length] != ':') ||
        !ESP_IsHexString(&start[9], 16U) ||
        !ESP_IsHexString(&start[26], 8U) ||
        !ESP_IsHexString(&start[35], 32U) ||
        !ESP_IsHexString(&start[68], cipher_hex_length) ||
        !ESP_IsHexString(&start[69U + cipher_hex_length], 32U))
    {
      return ESP_PACKET_INVALID;
    }

    *packet_length = full_length;
    return ESP_PACKET_READY;
  }

  if (available < 42U)
  {
    return ESP_PACKET_INCOMPLETE;
  }

  if ((memcmp(start, ESP_SECURE_PACKET_PREFIX, 4U) != 0) ||
      !ESP_ParseHexWord(&start[4], &plaintext_length) ||
      (plaintext_length == 0U) ||
      (plaintext_length > ESP_SECURE_MAX_PLAINTEXT) ||
      (start[8] != ':') ||
      (start[41] != ':'))
  {
    return ESP_PACKET_INVALID;
  }

  cipher_hex_length = (size_t)plaintext_length * 2U;
  full_length = 75U + cipher_hex_length;

  if (full_length >= ESP_SECURE_PACKET_MAX_LEN)
  {
    return ESP_PACKET_INVALID;
  }

  if (available < full_length)
  {
    return ESP_PACKET_INCOMPLETE;
  }

  if ((start[42U + cipher_hex_length] != ':') ||
      !ESP_IsHexString(&start[9], 32U) ||
      !ESP_IsHexString(&start[42], cipher_hex_length) ||
      !ESP_IsHexString(&start[43U + cipher_hex_length], 32U))
  {
    return ESP_PACKET_INVALID;
  }

  *packet_length = full_length;
  return ESP_PACKET_READY;
}

static void ESP_HandleSecurePacket(const char *packet)
{
  SensorData_t parsed = {0};
  char plaintext[128];
  uint8_t session_id[ESP_SECURE_SESSION_ID_LEN];
  uint32_t frame_counter = 0U;
  uint32_t now = HAL_GetTick();
  bool flow_risk_started = false;
  bool frost_risk_started = false;
  bool mold_risk_started = false;

  if ((strcmp(packet, esp_receiver.last_hex) == 0) &&
      ((now - esp_receiver.last_hex_ms) < ESP_DUPLICATE_WINDOW_MS))
  {
    return;
  }

  snprintf(esp_receiver.last_hex, sizeof(esp_receiver.last_hex), "%s", packet);
  esp_receiver.last_hex_ms = now;

  if (memcmp(packet, ESP_SECURE_PACKET_PREFIX_V2, 4U) == 0)
  {
    if (!ESP_DecryptSecurePayloadV2(packet, plaintext, sizeof(plaintext), session_id, &frame_counter))
    {
      ESP_SetStatus("Guvenlik Hatasi", "Paket Reddedildi");
      return;
    }

    if (!ESP_AcceptReplayWindow(session_id, frame_counter))
    {
      ESP_SetStatus("Replay Engellendi", "Eski Paket");
      return;
    }
  }
  else if (!ESP_DecryptSecurePayloadV1(packet, plaintext, sizeof(plaintext)))
  {
    ESP_SetStatus("Guvenlik Hatasi", "Paket Reddedildi");
    return;
  }

  if (!ESP_ParseSensorPayload(plaintext, &parsed))
  {
    ESP_SetStatus("Paket Geldi", "Format Uyusmadi");
    return;
  }

  flow_risk_started = parsed.flow_risk && !sensor_data.flow_risk;
  frost_risk_started = parsed.frost_risk && !sensor_data.frost_risk;
  mold_risk_started = parsed.fan_active && !sensor_data.fan_active;

  snprintf(parsed.encrypted_hex, sizeof(parsed.encrypted_hex), "%s", packet);
  sensor_data = parsed;
  esp_receiver.last_packet_ms = now;

  if (frost_risk_started)
  {
    snprintf(alert_line1, sizeof(alert_line1), "Don Riski");
    snprintf(alert_line2, sizeof(alert_line2), "Role Aktif");
    alert_until_ms = now + ALERT_SHOW_MS;
  }
  else if (mold_risk_started)
  {
    snprintf(alert_line1, sizeof(alert_line1), "Nem Sic Artti");
    snprintf(alert_line2, sizeof(alert_line2), "Mantar Riski");
    alert_until_ms = now + ALERT_SHOW_MS;
  }
  else if (flow_risk_started)
  {
    snprintf(alert_line1, sizeof(alert_line1), "Boru Patlama");
    snprintf(alert_line2, sizeof(alert_line2), "Riski");
    alert_until_ms = now + ALERT_SHOW_MS;
  }

  ESP_SetStatus("Veri Cozuldu", "LCD Guncel");
}

static void ESP_ProcessTextBuffer(void)
{
  uint16_t i = 0U;
  uint16_t consume_until = 0U;
  uint16_t retain_from = esp_receiver.text_len;

  while (i < esp_receiver.text_len)
  {
    if ((i + 4U) <= esp_receiver.text_len &&
        ((memcmp(&esp_receiver.text_buffer[i], ESP_SECURE_PACKET_PREFIX, 4U) == 0) ||
         (memcmp(&esp_receiver.text_buffer[i], ESP_SECURE_PACKET_PREFIX_V2, 4U) == 0)))
    {
      size_t packet_length = 0U;
      EspPacketProbeResult_t probe =
          ESP_ProbeSecurePacket(&esp_receiver.text_buffer[i],
                                (size_t)(esp_receiver.text_len - i),
                                &packet_length);

      if (probe == ESP_PACKET_READY)
      {
        char packet[ESP_SECURE_PACKET_MAX_LEN];
        uint16_t packet_end = (uint16_t)(i + packet_length);

        while ((packet_end < esp_receiver.text_len) &&
               ((esp_receiver.text_buffer[packet_end] == '\r') ||
                (esp_receiver.text_buffer[packet_end] == '\n')))
        {
          packet_end++;
        }

        if (packet_length < sizeof(packet))
        {
          memcpy(packet, &esp_receiver.text_buffer[i], packet_length);
          packet[packet_length] = '\0';
          ESP_SetStatus("Paket Geldi", "Dogrulaniyor");
          ESP_HandleSecurePacket(packet);
        }

        consume_until = packet_end;
        i = packet_end;
        continue;
      }

      if (probe == ESP_PACKET_INCOMPLETE)
      {
        retain_from = i;
        break;
      }
    }

    i++;
    consume_until = i;
  }

  if (retain_from < esp_receiver.text_len)
  {
    if (retain_from > 0U)
    {
      ESP_ConsumeTextPrefix(retain_from);
    }
  }
  else if (consume_until > 0U)
  {
    ESP_ConsumeTextPrefix(consume_until);
  }
  else if (esp_receiver.text_len > (ESP_UART_NOISE_KEEP_LEN * 2U))
  {
    ESP_ConsumeTextPrefix((uint16_t)(esp_receiver.text_len - ESP_UART_NOISE_KEEP_LEN));
  }
}

static void ESP_ProcessStartupResponses(void)
{
  if (esp_receiver.server_ready || !esp_receiver.awaiting_response)
  {
    return;
  }

  if (ESP_ConsumeThroughToken("\r\nOK") ||
      ESP_ConsumeThroughToken("\nOK") ||
      ESP_ConsumeThroughToken("OK\r\n") ||
      ESP_ConsumeThroughToken("no change") ||
      ESP_ConsumeThroughToken("ALREADY CONNECTED"))
  {
    esp_receiver.awaiting_response = false;
    esp_receiver.last_action_ms = HAL_GetTick();
    esp_receiver.at_index++;
    return;
  }

  if (ESP_ConsumeThroughToken("busy p...") ||
      ESP_ConsumeThroughToken("busy s...") ||
      ESP_ConsumeThroughToken("busy"))
  {
    esp_receiver.awaiting_response = false;
    esp_receiver.last_action_ms = HAL_GetTick();
    ESP_SetStatus("ESP Mesgul", esp_init_commands[esp_receiver.at_index].line2);
    return;
  }

  if (ESP_ConsumeThroughToken("ERROR") ||
      ESP_ConsumeThroughToken("FAIL"))
  {
    esp_receiver.awaiting_response = false;
    esp_receiver.last_action_ms = HAL_GetTick();
    ESP_SetStatus("ESP Komut Hata", esp_init_commands[esp_receiver.at_index].line2);
  }
}

static void ESP_ServiceLinkHealth(void)
{
  uint32_t now = HAL_GetTick();
  uint32_t last_activity_ms = esp_receiver.last_packet_ms;

  if (!esp_receiver.server_ready)
  {
    return;
  }

  if (esp_receiver.last_rx_activity_ms > last_activity_ms)
  {
    last_activity_ms = esp_receiver.last_rx_activity_ms;
  }

  if (last_activity_ms == 0U)
  {
    last_activity_ms = esp_receiver.last_action_ms;
  }

  if ((now - last_activity_ms) >= ESP_PACKET_TIMEOUT_MS)
  {
    ESP_ForceReinit("ESP Yeniden", "Baglaniyor");
  }
}

static void ESP_StartUartReceive(void)
{
  if (!esp_receiver.uart_started)
  {
    esp_receiver.uart_started = true;
    HAL_UART_Receive_IT(&huart1, &esp_receiver.rx_byte, 1U);
  }
}

static void ESP_PollUart(void)
{
  bool received_any_byte = false;

  while (esp_receiver.rx_tail != esp_receiver.rx_head)
  {
    uint8_t byte = esp_receiver.rx_fifo[esp_receiver.rx_tail];
    esp_receiver.rx_tail = (uint16_t)((esp_receiver.rx_tail + 1U) % sizeof(esp_receiver.rx_fifo));
    received_any_byte = true;

    if (esp_receiver.text_len < (sizeof(esp_receiver.text_buffer) - 1U))
    {
      esp_receiver.text_buffer[esp_receiver.text_len++] = (char)byte;
      esp_receiver.text_buffer[esp_receiver.text_len] = '\0';
    }
    else
    {
      memmove(esp_receiver.text_buffer,
              &esp_receiver.text_buffer[esp_receiver.text_len - 256U],
              256U);
      esp_receiver.text_len = 256U;
      esp_receiver.text_buffer[esp_receiver.text_len++] = (char)byte;
      esp_receiver.text_buffer[esp_receiver.text_len] = '\0';
    }
  }

  if (received_any_byte && esp_receiver.server_ready && !sensor_data.valid)
  {
    esp_receiver.last_rx_activity_ms = HAL_GetTick();
    ESP_SetStatus("UART Veri", "Paket Bekleniyor");
  }
  else if (received_any_byte)
  {
    esp_receiver.last_rx_activity_ms = HAL_GetTick();
  }

  if (esp_receiver.text_len > 0U)
  {
    ESP_ProcessStartupResponses();

    if (esp_receiver.server_ready || !esp_receiver.awaiting_response)
    {
      ESP_ProcessTextBuffer();
    }
  }
}

static void ESP_ServiceStartup(void)
{
  uint32_t now = HAL_GetTick();

  if (!esp_receiver.init_started)
  {
    esp_receiver.init_started = true;
    esp_receiver.last_action_ms = now;
    ESP_SetStatus("ESP Basliyor", "Boot Bekleniyor");
    return;
  }

  if (esp_receiver.server_ready)
  {
    return;
  }

  if (esp_receiver.awaiting_response)
  {
    if ((now - esp_receiver.last_action_ms) >= esp_init_commands[esp_receiver.at_index].wait_ms)
    {
      esp_receiver.awaiting_response = false;
      esp_receiver.last_action_ms = now;
      ESP_SetStatus("ESP Timeout", esp_init_commands[esp_receiver.at_index].line2);
    }

    return;
  }

  if (esp_receiver.at_index >= (sizeof(esp_init_commands) / sizeof(esp_init_commands[0])))
  {
    esp_receiver.server_ready = true;
    ESP_SetStatus("ESP Sunucu Hazir", "Veri Bekleniyor");
    return;
  }

  if ((now - esp_receiver.last_action_ms) < esp_init_commands[esp_receiver.at_index].wait_ms)
  {
    return;
  }

  ESP_SendCommand(esp_init_commands[esp_receiver.at_index].command);
  ESP_SetStatus(esp_init_commands[esp_receiver.at_index].line1, esp_init_commands[esp_receiver.at_index].line2);
  esp_receiver.last_action_ms = now;
  esp_receiver.awaiting_response = true;
}
#endif

/* USER CODE END 0 */

int main(void)
{

  /* MCU Configuration--------------------------------------------------------*/

  /* Reset of all peripherals, Initializes the Flash interface and the Systick. */
  HAL_Init();

  /* Configure the system clock */
  SystemClock_Config();

  /* Initialize all configured peripherals */
  MX_GPIO_Init();
  MX_I2C1_Init();
  MX_USART1_UART_Init();
  MX_TIM1_Init();
  /* USER CODE BEGIN 2 */
  HAL_GPIO_WritePin(USER_LED_GPIO_Port, USER_LED_Pin, GPIO_PIN_SET);
  Buzzer_StopAlert();
#ifdef HAL_I2C_MODULE_ENABLED
  LCD_Init();
  LCD_Service();
#endif
#ifdef HAL_UART_MODULE_ENABLED
  ESP_StartUartReceive();
  ESP_SetStatus("ESP Basliyor", "Boot Bekleniyor");
#endif

  /* USER CODE END 2 */

  /* Infinite loop */
  while (1)
  {

    /* USER CODE BEGIN 3 */
    static uint32_t last_led_toggle_ms = 0U;

    if ((HAL_GetTick() - last_led_toggle_ms) >= 500U)
    {
      last_led_toggle_ms = HAL_GetTick();
      HAL_GPIO_TogglePin(USER_LED_GPIO_Port, USER_LED_Pin);
    }

#ifdef HAL_UART_MODULE_ENABLED
    ESP_ServiceStartup();
    ESP_PollUart();
    ESP_ServiceLinkHealth();
#endif

    Buzzer_Service();

#ifdef HAL_I2C_MODULE_ENABLED
    LCD_Service();
#endif

    HAL_Delay(1);
  }
  /* USER CODE END 3 */
}

void SystemClock_Config(void)
{
  RCC_OscInitTypeDef RCC_OscInitStruct = {0};
  RCC_ClkInitTypeDef RCC_ClkInitStruct = {0};

  /** Configure the main internal regulator output voltage
  */
  __HAL_RCC_PWR_CLK_ENABLE();
  __HAL_PWR_VOLTAGESCALING_CONFIG(PWR_REGULATOR_VOLTAGE_SCALE1);

  /** Initializes the RCC Oscillators according to the specified parameters
  * in the RCC_OscInitTypeDef structure.
  */
  RCC_OscInitStruct.OscillatorType = RCC_OSCILLATORTYPE_HSI;
  RCC_OscInitStruct.HSIState = RCC_HSI_ON;
  RCC_OscInitStruct.HSICalibrationValue = RCC_HSICALIBRATION_DEFAULT;
  RCC_OscInitStruct.PLL.PLLState = RCC_PLL_ON;
  RCC_OscInitStruct.PLL.PLLSource = RCC_PLLSOURCE_HSI;
  RCC_OscInitStruct.PLL.PLLM = 8;
  RCC_OscInitStruct.PLL.PLLN = 64;
  RCC_OscInitStruct.PLL.PLLP = RCC_PLLP_DIV2;
  RCC_OscInitStruct.PLL.PLLQ = 4;
  if (HAL_RCC_OscConfig(&RCC_OscInitStruct) != HAL_OK)
  {
    Error_Handler();
  }

  /** Initializes the CPU, AHB and APB buses clocks
  */
  RCC_ClkInitStruct.ClockType = RCC_CLOCKTYPE_HCLK|RCC_CLOCKTYPE_SYSCLK
                              |RCC_CLOCKTYPE_PCLK1|RCC_CLOCKTYPE_PCLK2;
  RCC_ClkInitStruct.SYSCLKSource = RCC_SYSCLKSOURCE_PLLCLK;
  RCC_ClkInitStruct.AHBCLKDivider = RCC_SYSCLK_DIV4;
  RCC_ClkInitStruct.APB1CLKDivider = RCC_HCLK_DIV2;
  RCC_ClkInitStruct.APB2CLKDivider = RCC_HCLK_DIV1;

  if (HAL_RCC_ClockConfig(&RCC_ClkInitStruct, FLASH_LATENCY_0) != HAL_OK)
  {
    Error_Handler();
  }
}

static void MX_I2C1_Init(void)
{

  hi2c1.Instance = I2C1;
  hi2c1.Init.ClockSpeed = 100000;
  hi2c1.Init.DutyCycle = I2C_DUTYCYCLE_2;
  hi2c1.Init.OwnAddress1 = 0;
  hi2c1.Init.AddressingMode = I2C_ADDRESSINGMODE_7BIT;
  hi2c1.Init.DualAddressMode = I2C_DUALADDRESS_DISABLE;
  hi2c1.Init.OwnAddress2 = 0;
  hi2c1.Init.GeneralCallMode = I2C_GENERALCALL_DISABLE;
  hi2c1.Init.NoStretchMode = I2C_NOSTRETCH_DISABLE;
  if (HAL_I2C_Init(&hi2c1) != HAL_OK)
  {
    Error_Handler();
  }

}

static void MX_TIM1_Init(void)
{

  TIM_MasterConfigTypeDef sMasterConfig = {0};
  TIM_OC_InitTypeDef sConfigOC = {0};
  TIM_BreakDeadTimeConfigTypeDef sBreakDeadTimeConfig = {0};

  htim1.Instance = TIM1;
  htim1.Init.Prescaler = 63;
  htim1.Init.CounterMode = TIM_COUNTERMODE_UP;
  htim1.Init.Period = 499;
  htim1.Init.ClockDivision = TIM_CLOCKDIVISION_DIV1;
  htim1.Init.RepetitionCounter = 0;
  htim1.Init.AutoReloadPreload = TIM_AUTORELOAD_PRELOAD_DISABLE;
  if (HAL_TIM_PWM_Init(&htim1) != HAL_OK)
  {
    Error_Handler();
  }
  sMasterConfig.MasterOutputTrigger = TIM_TRGO_RESET;
  sMasterConfig.MasterSlaveMode = TIM_MASTERSLAVEMODE_DISABLE;
  if (HAL_TIMEx_MasterConfigSynchronization(&htim1, &sMasterConfig) != HAL_OK)
  {
    Error_Handler();
  }
  sConfigOC.OCMode = TIM_OCMODE_PWM1;
  sConfigOC.Pulse = 0;
  sConfigOC.OCPolarity = TIM_OCPOLARITY_HIGH;
  sConfigOC.OCNPolarity = TIM_OCNPOLARITY_HIGH;
  sConfigOC.OCFastMode = TIM_OCFAST_DISABLE;
  sConfigOC.OCIdleState = TIM_OCIDLESTATE_RESET;
  sConfigOC.OCNIdleState = TIM_OCNIDLESTATE_RESET;
  if (HAL_TIM_PWM_ConfigChannel(&htim1, &sConfigOC, TIM_CHANNEL_1) != HAL_OK)
  {
    Error_Handler();
  }
  sBreakDeadTimeConfig.OffStateRunMode = TIM_OSSR_DISABLE;
  sBreakDeadTimeConfig.OffStateIDLEMode = TIM_OSSI_DISABLE;
  sBreakDeadTimeConfig.LockLevel = TIM_LOCKLEVEL_OFF;
  sBreakDeadTimeConfig.DeadTime = 0;
  sBreakDeadTimeConfig.BreakState = TIM_BREAK_DISABLE;
  sBreakDeadTimeConfig.BreakPolarity = TIM_BREAKPOLARITY_HIGH;
  sBreakDeadTimeConfig.AutomaticOutput = TIM_AUTOMATICOUTPUT_DISABLE;
  if (HAL_TIMEx_ConfigBreakDeadTime(&htim1, &sBreakDeadTimeConfig) != HAL_OK)
  {
    Error_Handler();
  }
  HAL_TIM_MspPostInit(&htim1);

}

static void MX_USART1_UART_Init(void)
{

  huart1.Instance = USART1;
  huart1.Init.BaudRate = 115200;
  huart1.Init.WordLength = UART_WORDLENGTH_8B;
  huart1.Init.StopBits = UART_STOPBITS_1;
  huart1.Init.Parity = UART_PARITY_NONE;
  huart1.Init.Mode = UART_MODE_TX_RX;
  huart1.Init.HwFlowCtl = UART_HWCONTROL_NONE;
  huart1.Init.OverSampling = UART_OVERSAMPLING_16;
  if (HAL_UART_Init(&huart1) != HAL_OK)
  {
    Error_Handler();
  }

}

static void MX_GPIO_Init(void)
{
  /* USER CODE BEGIN MX_GPIO_Init_1 */
  GPIO_InitTypeDef GPIO_InitStruct = {0};

  __HAL_RCC_GPIOC_CLK_ENABLE();
  __HAL_RCC_GPIOA_CLK_ENABLE();

  /* USER CODE END MX_GPIO_Init_1 */

  /* GPIO Ports Clock Enable */
  __HAL_RCC_GPIOA_CLK_ENABLE();
  __HAL_RCC_GPIOB_CLK_ENABLE();

  /* USER CODE BEGIN MX_GPIO_Init_2 */
  HAL_GPIO_WritePin(USER_LED_GPIO_Port, USER_LED_Pin, GPIO_PIN_SET);

  GPIO_InitStruct.Pin = USER_LED_Pin;
  GPIO_InitStruct.Mode = GPIO_MODE_OUTPUT_PP;
  GPIO_InitStruct.Pull = GPIO_NOPULL;
  GPIO_InitStruct.Speed = GPIO_SPEED_FREQ_LOW;
  HAL_GPIO_Init(USER_LED_GPIO_Port, &GPIO_InitStruct);

#ifndef HAL_TIM_MODULE_ENABLED
  HAL_GPIO_WritePin(BUZZER_GPIO_Port, BUZZER_Pin, GPIO_PIN_RESET);

  GPIO_InitStruct.Pin = BUZZER_Pin;
  GPIO_InitStruct.Mode = GPIO_MODE_OUTPUT_PP;
  GPIO_InitStruct.Pull = GPIO_NOPULL;
  GPIO_InitStruct.Speed = GPIO_SPEED_FREQ_LOW;
  HAL_GPIO_Init(BUZZER_GPIO_Port, &GPIO_InitStruct);
#endif

  /* USER CODE END MX_GPIO_Init_2 */
}

/* USER CODE BEGIN 4 */
#ifdef HAL_UART_MODULE_ENABLED
void HAL_UART_RxCpltCallback(UART_HandleTypeDef *huart)
{
  if (huart->Instance == USART1)
  {
    uint16_t next_head = (uint16_t)((esp_receiver.rx_head + 1U) % sizeof(esp_receiver.rx_fifo));

    if (next_head != esp_receiver.rx_tail)
    {
      esp_receiver.rx_fifo[esp_receiver.rx_head] = esp_receiver.rx_byte;
      esp_receiver.rx_head = next_head;
    }

    HAL_UART_Receive_IT(&huart1, &esp_receiver.rx_byte, 1U);
  }
}

void HAL_UART_ErrorCallback(UART_HandleTypeDef *huart)
{
  if (huart->Instance == USART1)
  {
    __HAL_UART_CLEAR_OREFLAG(&huart1);
    HAL_UART_Receive_IT(&huart1, &esp_receiver.rx_byte, 1U);
  }
}
#endif

/* USER CODE END 4 */

void Error_Handler(void)
{
  __disable_irq();
  while (1)
  {
  }
}
